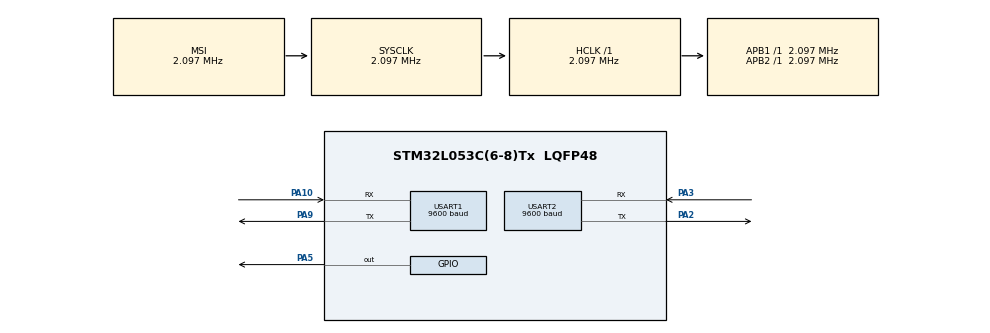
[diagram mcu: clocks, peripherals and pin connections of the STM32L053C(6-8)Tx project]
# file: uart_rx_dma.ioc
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Dma.Request0=USART2_RX
Dma.USART2_RX.0.Direction=DMA_PERIPH_TO_MEMORY
Dma.USART2_RX.0.Instance=DMA1_Channel5
Dma.USART2_RX.0.MemDataAlignment=DMA_MDATAALIGN_BYTE
Dma.USART2_RX.0.MemInc=DMA_MINC_ENABLE
Dma.USART2_RX.0.Mode=DMA_CIRCULAR
Dma.USART2_RX.0.PeriphDataAlignment=DMA_PDATAALIGN_BYTE
Dma.USART2_RX.0.PeriphInc=DMA_PINC_DISABLE
Dma.USART2_RX.0.Priority=DMA_PRIORITY_VERY_HIGH
Mcu.Family=STM32L0
Mcu.Name=STM32L053C(6-8)Tx
Mcu.Package=LQFP48
NVIC.DMA1_Channel4_5_6_7_IRQn=true\:0\:0\:false\:false\:true\:false
NVIC.USART2_IRQn=true\:0\:0\:false\:false\:true\:true
PA10.Mode=Asynchronous
PA10.Signal=USART1_RX
PA13.Mode=Serial_Wire
PA13.Signal=SYS_SWDIO
PA14.Mode=Serial_Wire
PA14.Signal=SYS_SWCLK
PA2.Mode=Asynchronous
PA2.Signal=USART2_TX
PA3.Mode=Asynchronous
PA3.Signal=USART2_RX
PA5.Signal=GPIO_Output
PA9.Mode=Asynchronous
PA9.Signal=USART1_TX
ProjectManager.HeapSize=0x200
ProjectManager.StackSize=0x400
ProjectManager.TargetToolchain=SW4STM32
RCC.AHBFreq_Value=2097000
RCC.APB1Freq_Value=2097000
RCC.APB1TimFreq_Value=2097000
RCC.APB2Freq_Value=2097000
RCC.APB2TimFreq_Value=2097000
RCC.HSE_VALUE=8000000
RCC.HSI16_VALUE=16000000
RCC.HSI48_VALUE=48000000
RCC.HSI_VALUE=16000000
RCC.LSE_VALUE=32768
RCC.MSI_VALUE=2097000
RCC.SYSCLKFreq_VALUE=2097000
RCC.VCOOutputFreq_Value=48000000
USART1.BaudRate=9600
USART1.VirtualMode-Asynchronous=VM_ASYNC
USART2.BaudRate=9600
USART2.OverrunDisableParam=ADVFEATURE_OVERRUN_ENABLE
USART2.VirtualMode-Asynchronous=VM_ASYNC
board=custom

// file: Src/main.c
/**
  ******************************************************************************
  * @file           : main.c
  * @brief          : Main program body
  ******************************************************************************
  ** This notice applies to any and all portions of this file
  * that are not between comment pairs USER CODE BEGIN and
  * USER CODE END. Other portions of this file, whether
  * inserted by the user or by software development tools
  * are owned by their respective copyright owners.
  *
  * COPYRIGHT(c) 2018 STMicroelectronics
  *
  * Redistribution and use in source and binary forms, with or without modification,
  * are permitted provided that the following conditions are met:
  *   1. Redistributions of source code must retain the above copyright notice,
  *      this list of conditions and the following disclaimer.
  *   2. Redistributions in binary form must reproduce the above copyright notice,
  *      this list of conditions and the following disclaimer in the documentation
  *      and/or other materials provided with the distribution.
  *   3. Neither the name of STMicroelectronics nor the names of its contributors
  *      may be used to endorse or promote products derived from this software
  *      without specific prior written permission.
  *
  * THIS SOFTWARE IS PROVIDED BY THE COPYRIGHT HOLDERS AND CONTRIBUTORS "AS IS"
  * AND ANY EXPRESS OR IMPLIED WARRANTIES, INCLUDING, BUT NOT LIMITED TO, THE
  * IMPLIED WARRANTIES OF MERCHANTABILITY AND FITNESS FOR A PARTICULAR PURPOSE ARE
  * DISCLAIMED. IN NO EVENT SHALL THE COPYRIGHT HOLDER OR CONTRIBUTORS BE LIABLE
  * FOR ANY DIRECT, INDIRECT, INCIDENTAL, SPECIAL, EXEMPLARY, OR CONSEQUENTIAL
  * DAMAGES (INCLUDING, BUT NOT LIMITED TO, PROCUREMENT OF SUBSTITUTE GOODS OR
  * SERVICES; LOSS OF USE, DATA, OR PROFITS; OR BUSINESS INTERRUPTION) HOWEVER
  * CAUSED AND ON ANY THEORY OF LIABILITY, WHETHER IN CONTRACT, STRICT LIABILITY,
  * OR TORT (INCLUDING NEGLIGENCE OR OTHERWISE) ARISING IN ANY WAY OUT OF THE USE
  * OF THIS SOFTWARE, EVEN IF ADVISED OF THE POSSIBILITY OF SUCH DAMAGE.
  *
  ******************************************************************************
  */
#include "main.h"
#include "stm32l0xx_hal.h"
#include "dma.h"
#include "usart.h"
#include "gpio.h"

/* USER CODE BEGIN PV */
/* Private variables ---------------------------------------------------------*/

/* USER CODE END PV */

void SystemClock_Config(void);

/* USER CODE BEGIN PFP */
/* Private function prototypes -----------------------------------------------*/

/* USER CODE END PFP */

/* USER CODE BEGIN 0 */

/* DMA Timeout event UART fronm
 * https://github.com/akospasztor/stm32-dma-uart
 *
 * NB:
 *   main.h defines the DMA_Event_t struct
 *   usart.c has UART2 IDLE Interrupt Configuration in HAL_UART_MspInit()
 *   usart.c provides DMA_Event_t dma_uart_rx
 *   usat.h exports dma_uart_rx which stm32l0xx_it.c uses with extern DMA_Event_t dma_uart_rx;
 *   stm32l0xx_it.c has DMA timer in SysTick_Handler()
 *   stm32l0xx_it.c has UART IDLE Interrupt in USART2_IRQHandler()
 *
 *   uart is confirgured as dma circular buffer.
*/

uint8_t dma_rx_buf[DMA_BUF_SIZE];       /* Circular buffer for DMA */
uint8_t data[DMA_BUF_SIZE] = {'\0'};    /* Data buffer that contains newly received data */

volatile __IO ITStatus RxReady = RESET;

/* USER CODE END 0 */

int main(void)
{

  /* MCU Configuration----------------------------------------------------------*/

  /* Reset of all peripherals, Initializes the Flash interface and the Systick. */
  HAL_Init();

  /* Configure the system clock */
  SystemClock_Config();

  /* Initialize all configured peripherals */
  MX_GPIO_Init();
  MX_DMA_Init();
  MX_USART1_UART_Init();
  MX_USART2_UART_Init();
  /* USER CODE BEGIN 2 */

  HAL_GPIO_WritePin(GPIOA, GPIO_PIN_5, GPIO_PIN_SET);

  if (HAL_UART_Receive_DMA(&huart2, (uint8_t*)dma_rx_buf, DMA_BUF_SIZE) != HAL_OK) {
	  Error_Handler();
  }
  /* Disable Half Transfer Interrupt */
   __HAL_DMA_DISABLE_IT(huart2.hdmarx, DMA_IT_HT);

  /* USER CODE END 2 */

  /* Infinite loop */
  while (1)
  {

  /* USER CODE BEGIN 3 */

	  if (RxReady == SET) {
		  RxReady = RESET;
		  HAL_GPIO_TogglePin(GPIOA, GPIO_PIN_5);
		  // Blocking.
		  HAL_UART_Transmit(&huart1, (uint8_t *)data, dma_uart_rx.length, 200);
	  }

  }
  /* USER CODE END 3 */

}

void SystemClock_Config(void)
{

  RCC_OscInitTypeDef RCC_OscInitStruct;
  RCC_ClkInitTypeDef RCC_ClkInitStruct;
  RCC_PeriphCLKInitTypeDef PeriphClkInit;

    /**Configure the main internal regulator output voltage
    */
  __HAL_PWR_VOLTAGESCALING_CONFIG(PWR_REGULATOR_VOLTAGE_SCALE1);

    /**Initializes the CPU, AHB and APB busses clocks
    */
  RCC_OscInitStruct.OscillatorType = RCC_OSCILLATORTYPE_MSI;
  RCC_OscInitStruct.MSIState = RCC_MSI_ON;
  RCC_OscInitStruct.MSICalibrationValue = 0;
  RCC_OscInitStruct.MSIClockRange = RCC_MSIRANGE_5;
  RCC_OscInitStruct.PLL.PLLState = RCC_PLL_NONE;
  if (HAL_RCC_OscConfig(&RCC_OscInitStruct) != HAL_OK)
  {
    _Error_Handler(__FILE__, __LINE__);
  }

    /**Initializes the CPU, AHB and APB busses clocks
    */
  RCC_ClkInitStruct.ClockType = RCC_CLOCKTYPE_HCLK|RCC_CLOCKTYPE_SYSCLK
                              |RCC_CLOCKTYPE_PCLK1|RCC_CLOCKTYPE_PCLK2;
  RCC_ClkInitStruct.SYSCLKSource = RCC_SYSCLKSOURCE_MSI;
  RCC_ClkInitStruct.AHBCLKDivider = RCC_SYSCLK_DIV1;
  RCC_ClkInitStruct.APB1CLKDivider = RCC_HCLK_DIV1;
  RCC_ClkInitStruct.APB2CLKDivider = RCC_HCLK_DIV1;

  if (HAL_RCC_ClockConfig(&RCC_ClkInitStruct, FLASH_LATENCY_0) != HAL_OK)
  {
    _Error_Handler(__FILE__, __LINE__);
  }

  PeriphClkInit.PeriphClockSelection = RCC_PERIPHCLK_USART1|RCC_PERIPHCLK_USART2;
  PeriphClkInit.Usart1ClockSelection = RCC_USART1CLKSOURCE_PCLK2;
  PeriphClkInit.Usart2ClockSelection = RCC_USART2CLKSOURCE_PCLK1;
  if (HAL_RCCEx_PeriphCLKConfig(&PeriphClkInit) != HAL_OK)
  {
    _Error_Handler(__FILE__, __LINE__);
  }

    /**Configure the Systick interrupt time
    */
  HAL_SYSTICK_Config(HAL_RCC_GetHCLKFreq()/1000);

    /**Configure the Systick
    */
  HAL_SYSTICK_CLKSourceConfig(SYSTICK_CLKSOURCE_HCLK);

  /* SysTick_IRQn interrupt configuration */
  HAL_NVIC_SetPriority(SysTick_IRQn, 0, 0);
}

/* USER CODE BEGIN 4 */

/** DMA Rx Complete AND DMA Rx Timeout function
 * Timeout event: generated after UART IDLE IT + DMA Timeout value
 * Scenarios:
 *  - Timeout event when previous event was DMA Rx Complete --> new data is from buffer beginning till (MAX-currentCNDTR)
 *  - Timeout event when previous event was Timeout event   --> buffer contains old data, new data is in the "middle": from (MAX-previousCNDTR) till (MAX-currentCNDTR)
 *  - DMA Rx Complete event when previous event was DMA Rx Complete --> entire buffer holds new data
 *  - DMA Rx Complete event when previous event was Timeout event   --> buffer entirely filled but contains old data, new data is from (MAX-previousCNDTR) till MAX
 * Remarks:
 *  - If there is no following data after DMA Rx Complete, the generated IDLE Timeout has to be ignored!
 *  - When buffer overflow occurs, the following has to be performed in order not to lose data:
 *      (1): DMA Rx Complete event occurs, process first part of new data till buffer MAX.
 *      (2): In this case, the currentCNDTR is already decreased because of overflow.
 *              However, previousCNDTR has to be set to MAX in order to signal for upcoming Timeout event that new data has to be processed from buffer beginning.
 *      (3): When many overflows occur, simply process DMA Rx Complete events (process entire DMA buffer) until Timeout event occurs.
 *      (4): When there is no more overflow, Timeout event occurs, process last part of data from buffer beginning till currentCNDTR.
*/
void HAL_UART_RxCpltCallback(UART_HandleTypeDef *huart)
{
    uint16_t i, pos, start;
    uint16_t currCNDTR = __HAL_DMA_GET_COUNTER(huart->hdmarx);

    /* Ignore IDLE Timeout when the received characters exactly filled up the DMA buffer and DMA Rx Complete IT is generated,
       but there is no new character during timeout */
    if(dma_uart_rx.flag && currCNDTR == DMA_BUF_SIZE)
    {
        dma_uart_rx.flag = 0;
        return;
    }

    /* Determine start position in DMA buffer based on previous CNDTR value */
    start = (dma_uart_rx.prevCNDTR < DMA_BUF_SIZE) ? (DMA_BUF_SIZE - dma_uart_rx.prevCNDTR) : 0;

    if(dma_uart_rx.flag)    /* Timeout event */
    {
        /* Determine new data length based on previous DMA_CNDTR value:
         *  If previous CNDTR is less than DMA buffer size: there is old data in DMA buffer (from previous timeout) that has to be ignored.
         *  If CNDTR == DMA buffer size: entire buffer content is new and has to be processed.
        */
    	dma_uart_rx.length = (dma_uart_rx.prevCNDTR < DMA_BUF_SIZE) ? (dma_uart_rx.prevCNDTR - currCNDTR) : (DMA_BUF_SIZE - currCNDTR);
        dma_uart_rx.prevCNDTR = currCNDTR;
        dma_uart_rx.flag = 0;
    }
    else                /* DMA Rx Complete event */
    {
    	dma_uart_rx.length = DMA_BUF_SIZE - start;
        dma_uart_rx.prevCNDTR = DMA_BUF_SIZE;
    }

    /* Copy and Process new data */
    for(i=0,pos=start; i<dma_uart_rx.length; ++i,++pos)
    {
        data[i] = dma_rx_buf[pos];
    }

    /* Data ready for using */
    RxReady = SET;
}

/* Error callback */
void HAL_UART_ErrorCallback(UART_HandleTypeDef *huart)
{
    Error_Handler();
}

/* USER CODE END 4 */

void _Error_Handler(char *file, int line)
{
  /* USER CODE BEGIN Error_Handler_Debug */
  /* User can add his own implementation to report the HAL error return state */
  while(1)
  {
	  HAL_GPIO_TogglePin(GPIOA, GPIO_PIN_5);
	  HAL_Delay(200);
  }
  /* USER CODE END Error_Handler_Debug */
}

/************************ (C) COPYRIGHT STMicroelectronics *****END OF FILE****/
